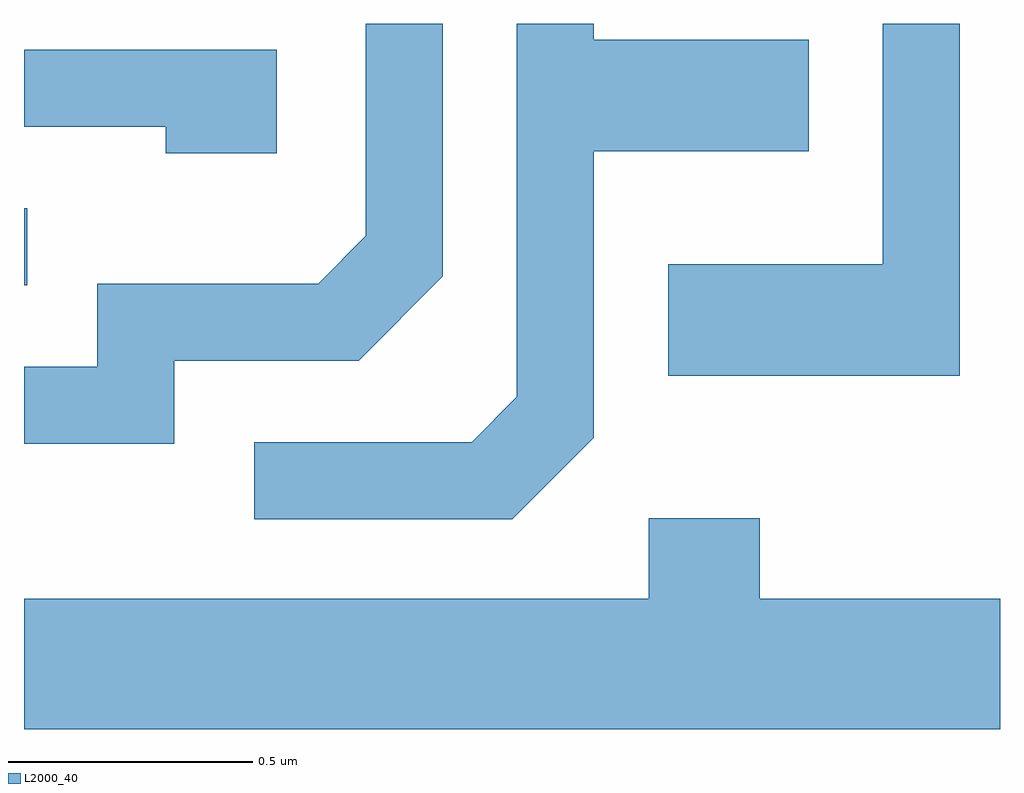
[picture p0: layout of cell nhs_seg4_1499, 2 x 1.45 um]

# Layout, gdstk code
import gdstk
lib = gdstk.Library(unit=1e-6, precision=1e-09)
def R(c, l, rs):  # rectangles x0, y0, x1, y1
    for r in rs: c.add(gdstk.rectangle(r[:2], r[2:], *l))
def P(c, l, *ps):  # polygons
    for p in ps: c.add(gdstk.Polygon(p, *l))
L2000_40 = (2000, 40)

nhs_seg4_1499 = lib.new_cell('nhs_seg4_1499')
R(nhs_seg4_1499, L2000_40, [(195.611,1384.446,195.618,1384.604)])
P(nhs_seg4_1499, L2000_40, [(197.529,1384.982),(197.371,1384.982),(197.371,1384.489),(196.931,1384.489),(196.931,1384.261),(197.529,1384.261)],
  [(196.779,1384.134),(196.779,1384.721),(197.219,1384.721),(197.219,1384.949),(196.779,1384.949),(196.779,1384.982),(196.621,1384.982),(196.621,1384.217),(196.529,1384.124),(196.083,1384.124),(196.083,1383.966),(196.612,1383.966)],
  [(195.919,1384.291),(196.297,1384.291),(196.469,1384.464),(196.469,1384.982),(196.311,1384.982),(196.311,1384.547),(196.214,1384.449),(195.761,1384.449),(195.761,1384.279),(195.611,1384.279),(195.611,1384.121),(195.919,1384.121)],
  [(196.129,1384.929),(195.611,1384.929),(195.611,1384.771),(195.901,1384.771),(195.901,1384.716),(196.129,1384.716)],
  [(197.611,1383.804),(197.119,1383.804),(197.119,1383.969),(196.891,1383.969),(196.891,1383.804),(195.611,1383.804),(195.611,1383.536),(197.611,1383.536)])

lib.write_gds('nhs_seg4_1499.gds')
